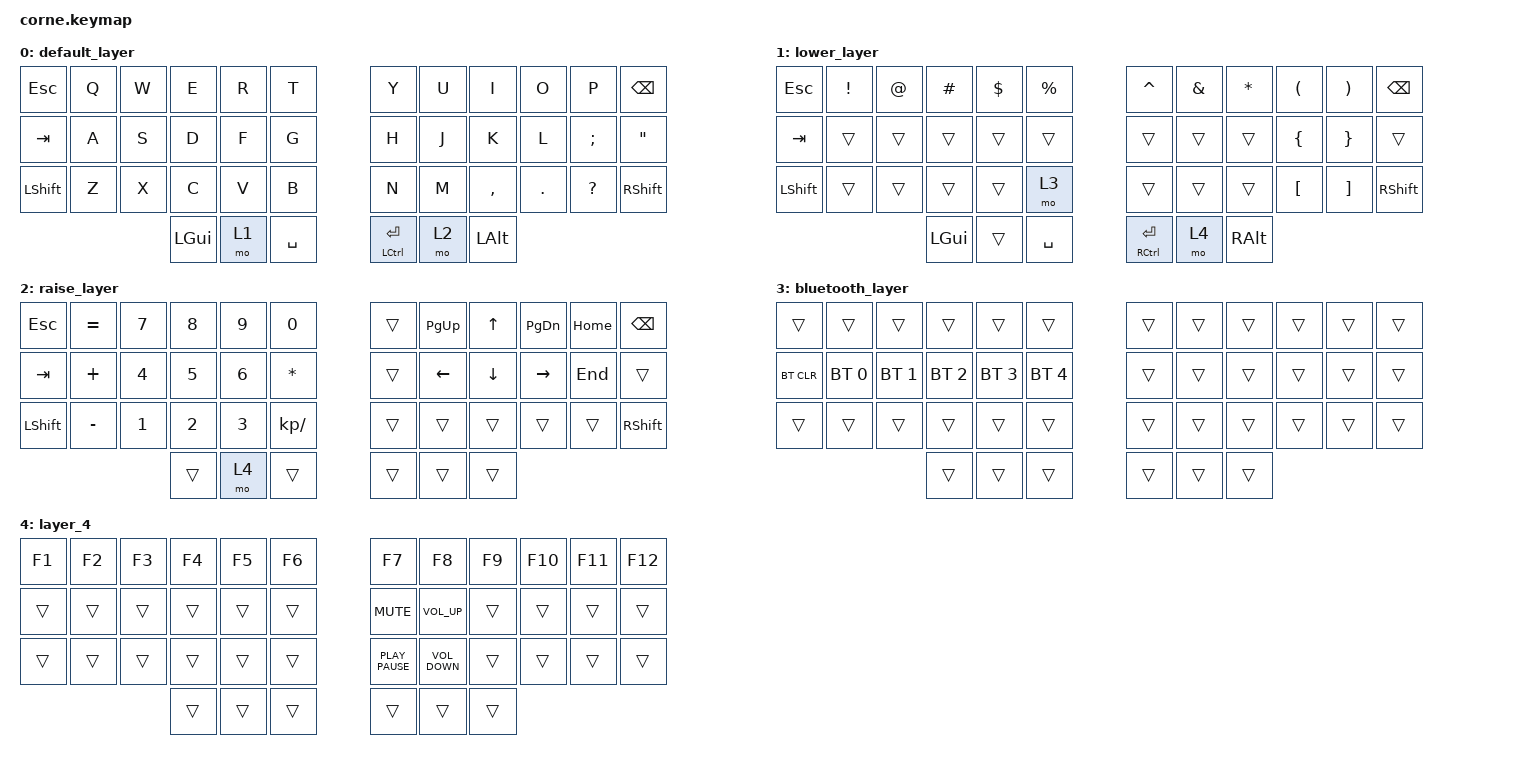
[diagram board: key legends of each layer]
/*
 * Copyright (c) 2020 The ZMK Contributors
 *
 * SPDX-License-Identifier: MIT
 */

#include <behaviors.dtsi>
#include <dt-bindings/zmk/bt.h>
#include <dt-bindings/zmk/keys.h>

/ {
    keymap {
        compatible = "zmk,keymap";

        default_layer {
            // -----------------------------------------------------------------------------------------
            // |  TAB |  Q  |  W  |  E  |  R  |  T  |   |  Y  |  U   |  I  |  O  |  P  | BSPC |
            // | CTRL |  A  |  S  |  D  |  F  |  G  |   |  H  |  J   |  K  |  L  |  ;  |  '   |
            // | SHFT |  Z  |  X  |  C  |  V  |  B  |   |  N  |  M   |  ,  |  .  |  /  | ESC  |
            //                    | GUI | LWR | SPC |   | ENT | RSE  | ALT |

            bindings = <
&kp ESC    &kp Q  &kp W  &kp E     &kp R  &kp T        &kp Y                   &kp U  &kp I         &kp O    &kp P         &kp BACKSPACE
&kp TAB    &kp A  &kp S  &kp D     &kp F  &kp G        &kp H                   &kp J  &kp K         &kp L    &kp SEMI      &kp DOUBLE_QUOTES
&kp LSHFT  &kp Z  &kp X  &kp C     &kp V  &kp B        &kp N                   &kp M  &kp COMMA     &kp DOT  &kp QUESTION  &kp RIGHT_SHIFT
                         &kp LGUI  &mo 1  &kp SPACE    &mt LEFT_CONTROL ENTER  &mo 2  &kp LEFT_ALT
            >;
        };

        lower_layer {
            // -----------------------------------------------------------------------------------------
            // |  TAB |  1  |  2  |  3  |  4  |  5  |   |  6  |  7  |  8  |  9  |  0  | BSPC |
            // | BTCLR| BT1 | BT2 | BT3 | BT4 | BT5 |   | LFT | DWN |  UP | RGT |     |      |
            // | SHFT |     |     |     |     |     |   |     |     |     |     |     |      |
            //                    | GUI |     | SPC |   | ENT |     | ALT |

            bindings = <
&kp ESCAPE  &kp EXCLAMATION  &kp AT_SIGN  &kp HASH  &kp DOLLAR  &kp PERCENT    &kp CARET                &kp AMPERSAND  &kp ASTERISK  &kp LEFT_PARENTHESIS  &kp RIGHT_PARENTHESIS  &kp BSPC
&kp TAB     &trans           &trans       &trans    &trans      &trans         &trans                   &trans         &trans        &kp LEFT_BRACE        &kp RIGHT_BRACE        &trans
&kp LSHFT   &trans           &trans       &trans    &trans      &mo 3          &trans                   &trans         &trans        &kp LEFT_BRACKET      &kp RIGHT_BRACKET      &kp RIGHT_SHIFT
                                          &kp LGUI  &trans      &kp SPACE      &mt RIGHT_CONTROL ENTER  &mo 4          &kp RALT
            >;
        };

        raise_layer {
            // -----------------------------------------------------------------------------------------
            // |  TAB |  !  |  @  |  #  |  $  |  %  |   |  ^  |  &  |  *  |  (  |  )  | BSPC |
            // | CTRL |     |     |     |     |     |   |  -  |  =  |  [  |  ]  |  \  |  `   |
            // | SHFT |     |     |     |     |     |   |  _  |  +  |  {  |  }  | "|" |  ~   |
            //                    | GUI |     | SPC |   | ENT |     | ALT |

            bindings = <
&kp ESCAPE      &kp EQUAL  &kp N7  &kp N8  &kp N9  &kp N0           &trans  &kp PAGE_UP     &kp UP_ARROW  &kp PAGE_DOWN  &kp HOME  &kp BACKSPACE
&kp TAB         &kp PLUS   &kp N4  &kp N5  &kp N6  &kp ASTERISK     &trans  &kp LEFT_ARROW  &kp DOWN      &kp RIGHT      &kp END   &trans
&kp LEFT_SHIFT  &kp MINUS  &kp N1  &kp N2  &kp N3  &kp KP_DIVIDE    &trans  &trans          &trans        &trans         &trans    &kp RIGHT_SHIFT
                                   &trans  &mo 4   &trans           &trans  &trans          &trans
            >;
        };

        bluetooth_layer {
            bindings = <
&trans      &trans        &trans        &trans        &trans        &trans          &trans  &trans  &trans  &trans  &trans  &trans
&bt BT_CLR  &bt BT_SEL 0  &bt BT_SEL 1  &bt BT_SEL 2  &bt BT_SEL 3  &bt BT_SEL 4    &trans  &trans  &trans  &trans  &trans  &trans
&trans      &trans        &trans        &trans        &trans        &trans          &trans  &trans  &trans  &trans  &trans  &trans
                                        &trans        &trans        &trans          &trans  &trans  &trans
            >;
        };

        layer_4 {
            bindings = <
&kp F1  &kp F2  &kp F3  &kp F4  &kp F5  &kp F6    &kp F7            &kp F8             &kp F9  &kp F10  &kp F11  &kp F12
&trans  &trans  &trans  &trans  &trans  &trans    &kp K_MUTE        &kp C_VOLUME_UP    &trans  &trans   &trans   &trans
&trans  &trans  &trans  &trans  &trans  &trans    &kp K_PLAY_PAUSE  &kp C_VOLUME_DOWN  &trans  &trans   &trans   &trans
                        &trans  &trans  &trans    &trans            &trans             &trans
            >;
        };
    };
};
